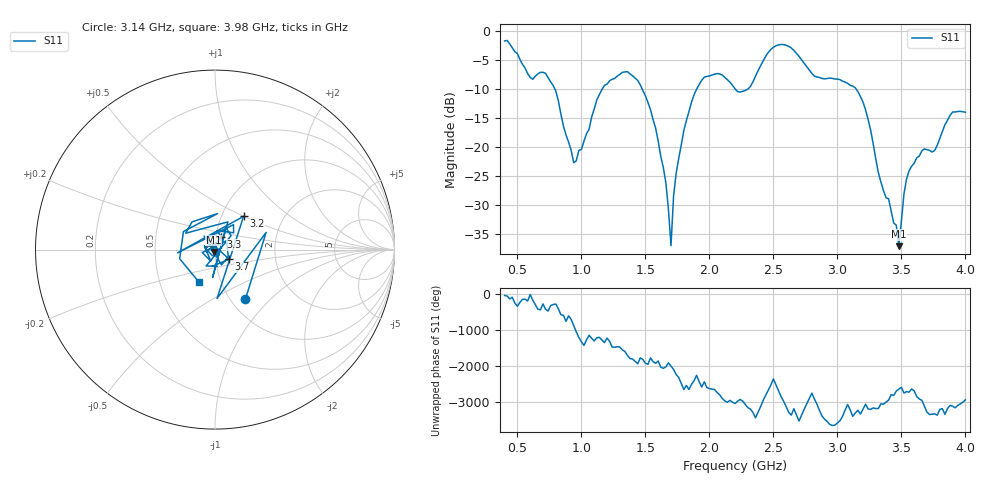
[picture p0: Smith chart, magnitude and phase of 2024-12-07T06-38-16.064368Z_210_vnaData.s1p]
!Created with skrf (http://scikit-rf.org).
# Hz S RI R 50.0
!freq ReS11 ImS11
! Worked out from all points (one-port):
!   181 points, 400 MHz to 4 GHz, reference 50 ohm
!   lowest |S11| = -37.0 dB at 3.48 GHz (marker M1), VSWR 1.03, Z = 49.4 - j1.25 ohm
!   |S11| at or under -10 dB: 792.7 MHz to 1.163 GHz (370.1 MHz wide, 37.9 % of centre); 1.475 GHz to 1.901 GHz (426.4 MHz wide, 25.3 % of centre); 3.146 GHz to end of sweep (the widest 3 of 4)
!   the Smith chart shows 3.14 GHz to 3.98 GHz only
!   S11 on the Smith chart (normalised r, x): 3.14 GHz: 1.17, -0.72; 3.2 GHz: 1.27, +0.50; 3.3 GHz: 1.06, +0.15; 3.7 GHz: 1.16, -0.13; 3.98 GHz: 0.79, -0.30
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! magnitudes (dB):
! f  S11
! 400 MHz  -1.7
! 600 MHz  -8.0
! 720 MHz  -7.3
! 860 MHz  -16.4
! 960 MHz  -22.3
! 1.14 GHz  -11.0
! 1.3 GHz  -7.5
! 1.44 GHz  -8.5
! 1.54 GHz  -13.6
! 1.66 GHz  -26.1
! 1.7 GHz  -36.9
! 1.72 GHz  -28.4
! 1.76 GHz  -22.0
! 1.94 GHz  -8.5
! 2.2 GHz  -9.9
! 2.32 GHz  -9.6
! 2.5 GHz  -2.8
! 2.66 GHz  -3.4
! 3.1 GHz  -9.4
! 3.14 GHz  -9.8
! 3.2 GHz  -12.2
! 3.3 GHz  -22.1
! 3.48 GHz  -37.0
! 3.52 GHz  -28.1
! 3.56 GHz  -24.1
! 3.7 GHz  -20.4
! 3.98 GHz  -13.9
! 4 GHz  -14.0
